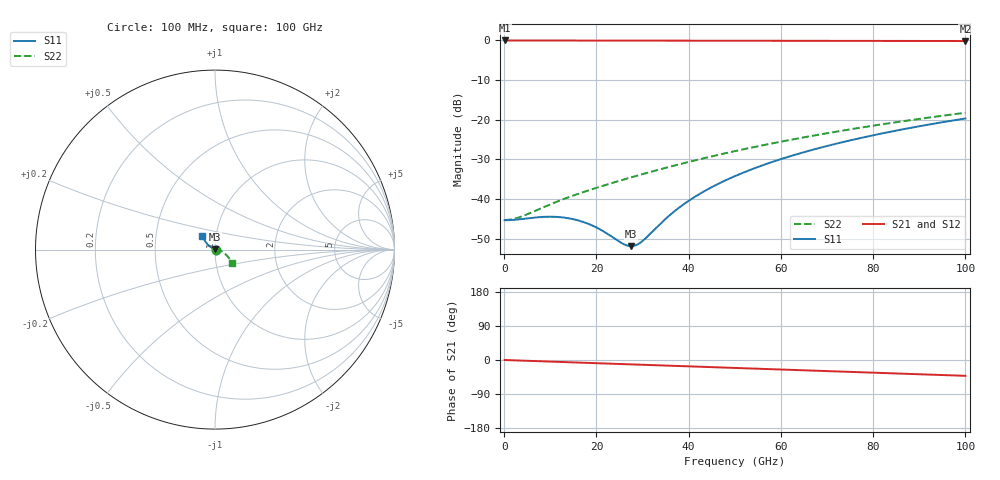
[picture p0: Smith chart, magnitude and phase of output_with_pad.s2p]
#  Hz  S  RI  R  50
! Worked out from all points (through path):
!   1000 points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, 100 MHz to 100 GHz, reference 50 ohm
!   highest |S21| = -0.05 dB at 100 MHz (marker M1); lowest = -0.2 dB at 100 GHz (marker M2)
!   group delay of S21, straight-line fit = 1.16 ps
!   lowest |S11| = -51.9 dB at 27.5 GHz (marker M3), VSWR 1.01, Z = 50.1 + j0.25 ohm
!   |S11| at or under -10 dB: start of sweep to end of sweep
!   |S22| runs from -45.3 to -18.3 dB; largest |S21 - S12| = 0.0014
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1e8  0.00541 2.59e-05  0.9946 -0.000752  0.9946 -0.000752  0.00545 3.28e-05
1.7e9  0.00544 0.000434  0.9944 -0.0128  0.9944 -0.0128  0.00555 0.00055
3.5e9  0.00551 0.000859  0.994 -0.0262  0.994 -0.0262  0.00586 0.00109
7.6e9  0.00571 0.00156  0.992 -0.0565  0.992 -0.0565  0.00722 0.00196
1.04e10  0.00572 0.0018  0.99 -0.0769  0.99 -0.0768  0.00849 0.00221
1.37e10  0.00544 0.00191  0.9872 -0.1005  0.9872 -0.1005  0.0102 0.00219
1.68e10  0.00485 0.00195  0.9841 -0.1225  0.9842 -0.1225  0.0119 0.00194
2.06e10  0.0037 0.00201  0.9799 -0.1494  0.9799 -0.1493  0.0141 0.0014
2.58e10  0.00143 0.00232  0.9729 -0.1859  0.9729 -0.1858  0.0175 0.000331
2.75e10  0.000537 0.0025  0.9703 -0.1978  0.9703 -0.1977  0.0187 -9.75e-05
2.86e10  -7.64e-05 0.00263  0.9686 -0.2054  0.9686 -0.2054  0.0195 -0.000397
2.97e10  -0.000718 0.00278  0.9668 -0.2131  0.9668 -0.213  0.0204 -0.000714
3.34e10  -0.00307 0.00344  0.9603 -0.2387  0.9603 -0.2387  0.0233 -0.00192
3.69e10  -0.00555 0.00427  0.9536 -0.2628  0.9536 -0.2628  0.0262 -0.00328
4.07e10  -0.00852 0.00543  0.9456 -0.2888  0.9456 -0.2887  0.0296 -0.005
4.51e10  -0.0123 0.00715  0.9355 -0.3185  0.9354 -0.3185  0.0338 -0.00735
5.01e10  -0.017 0.00966  0.9228 -0.3519  0.9227 -0.3519  0.0389 -0.0105
5.78e10  -0.0248 0.0148  0.9009 -0.4025  0.9007 -0.4026  0.0471 -0.0163
6.67e10  -0.0346 0.023  0.8718 -0.4594  0.8715 -0.4595  0.0573 -0.0248
7.46e10  -0.0435 0.0322  0.8428 -0.5083  0.8423 -0.5084  0.0668 -0.0339
8.34e10  -0.0534 0.045  0.807 -0.5608  0.8062 -0.5609  0.0774 -0.046
1e11  -0.0698 0.0765  0.7293 -0.6523  0.7279 -0.6522  0.0969 -0.0745
